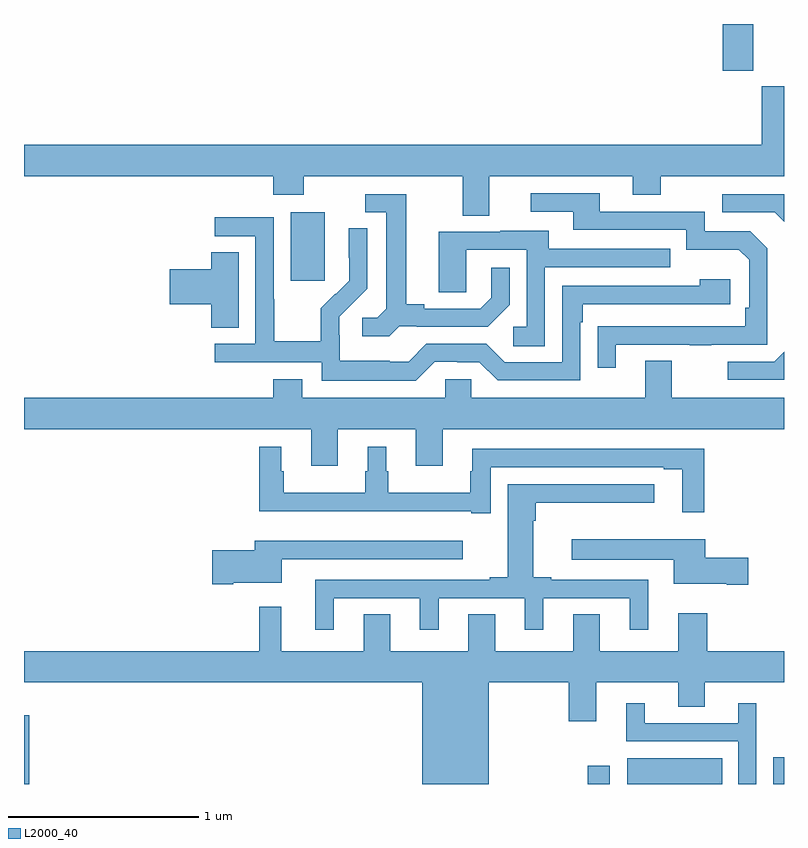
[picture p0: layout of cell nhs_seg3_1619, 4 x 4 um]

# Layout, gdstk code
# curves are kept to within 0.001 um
import gdstk
lib = gdstk.Library(unit=1e-6, precision=1e-09)
def R(c, l, rs):  # rectangles x0, y0, x1, y1
    for r in rs: c.add(gdstk.rectangle(r[:2], r[2:], *l))
def P(c, l, *ps):  # polygons
    for p in ps: c.add(gdstk.Polygon(p, *l))
L2000_40 = (2000, 40)

nhs_seg3_1619 = lib.new_cell('nhs_seg3_1619')
R(nhs_seg3_1619, L2000_40, [(195,680.4,195.028,680.761), (197.968,680.4,198.084,680.497), (198.174,680.4,198.674,680.536), (198.944,680.4,199,680.542), (196.403,683.049,196.582,683.41), (198.677,684.153,198.837,684.4)])
P(nhs_seg3_1619, L2000_40, [(195,683.6),(196.313,683.6),(196.313,683.501),(196.473,683.501),(196.473,683.6),(197.309,683.6),(197.309,683.392),(197.449,683.392),(197.449,683.6),(198.203,683.6),(198.203,683.501),(198.351,683.501),(198.351,683.6),(199,683.6),(199,684.073),(198.884,684.073),(198.884,683.764),(195,683.764)],
  [(198.115,682.713),(198.505,682.713),(198.505,682.708),(198.617,682.708),(198.617,682.713),(198.912,682.713),(198.912,683.22),(198.822,683.31),(198.582,683.31),(198.582,683.412),(198.031,683.412),(198.031,683.508),(197.667,683.508),(197.667,683.412),(197.891,683.412),(197.891,683.316),(198.486,683.316),(198.486,683.213),(198.763,683.213),(198.816,683.16),(198.816,682.906),(198.796,682.906),(198.796,682.809),(198.019,682.808),(198.019,682.59),(198.115,682.59)],
  [(199,683.505),(198.675,683.505),(198.675,683.409),(198.951,683.409),(199,683.36)],
  [(196.974,682.809),(197.068,682.809),(197.068,682.806),(197.44,682.806),(197.556,682.922),(197.556,683.116),(197.459,683.116),(197.459,682.959),(197.402,682.902),(197.107,682.902),(197.107,682.925),(197.011,682.925),(197.011,683.505),(196.797,683.505),(196.797,683.409),(196.907,683.409),(196.907,682.901),(196.86,682.854),(196.779,682.854),(196.779,682.757),(196.922,682.757)],
  [(197.163,682.623),(197.279,682.623),(197.279,682.62),(197.397,682.62),(197.493,682.524),(197.928,682.524),(197.928,682.829),(197.941,682.829),(197.941,682.926),(198.718,682.926),(198.718,683.056),(198.557,683.056),(198.557,683.022),(197.832,683.022),(197.832,682.62),(197.529,682.62),(197.433,682.716),(197.118,682.716),(197.025,682.623),(196.925,682.623),(196.925,682.627),(196.662,682.627),(196.662,682.761),(196.66,682.761),(196.66,682.858),(196.806,683.006),(196.806,683.324),(196.71,683.324),(196.71,683.17),(196.712,683.17),(196.712,683.048),(196.641,682.977),(196.638,682.98),(196.561,682.903),(196.561,682.729),(196.317,682.729),(196.317,682.952),(196.314,682.952),(196.314,683.382),(196.005,683.382),(196.005,683.283),(196.218,683.283),(196.218,682.716),(196.005,682.716),(196.005,682.62),(196.566,682.62),(196.566,682.523),(197.063,682.523)],
  [(197.742,683.121),(198.401,683.121),(198.401,683.217),(197.761,683.217),(197.761,683.311),(197.507,683.311),(197.507,683.307),(197.183,683.307),(197.183,682.987),(197.328,682.987),(197.328,683.211),(197.646,683.211),(197.646,682.806),(197.574,682.806),(197.574,682.705),(197.742,682.705)],
  [(196.129,683.198),(195.986,683.198),(195.986,683.108),(195.768,683.108),(195.768,682.925),(195.986,682.925),(195.986,682.801),(196.129,682.801)],
  [(199,682.675),(198.948,682.623),(198.705,682.623),(198.705,682.527),(199,682.527)],
  [(196.651,682.268),(197.063,682.268),(197.063,682.074),(197.203,682.074),(197.203,682.268),(199,682.268),(199,682.432),(198.409,682.432),(198.409,682.627),(198.269,682.627),(198.269,682.432),(197.355,682.432),(197.355,682.53),(197.217,682.53),(197.217,682.432),(196.465,682.432),(196.465,682.531),(196.313,682.531),(196.313,682.432),(195,682.432),(195,682.268),(196.511,682.268),(196.511,682.074),(196.651,682.074)],
  [(197.457,682.068),(198.368,682.068),(198.368,682.056),(198.464,682.056),(198.464,681.831),(198.581,681.831),(198.581,682.164),(197.36,682.164),(197.36,682.046),(197.349,682.046),(197.349,681.934),(196.918,681.934),(196.918,682.046),(196.906,682.046),(196.906,682.174),(196.808,682.174),(196.808,682.046),(196.797,682.046),(196.797,681.934),(196.366,681.934),(196.366,682.046),(196.354,682.046),(196.354,682.174),(196.237,682.174),(196.237,681.836),(197.354,681.836),(197.354,681.825),(197.457,681.825)],
  [(196.63,681.378),(197.084,681.378),(197.084,681.213),(197.182,681.213),(197.182,681.378),(197.636,681.378),(197.636,681.213),(197.734,681.213),(197.734,681.378),(198.188,681.378),(198.188,681.213),(198.286,681.213),(198.286,681.474),(197.776,681.474),(197.776,681.487),(197.68,681.487),(197.68,681.785),(197.693,681.785),(197.693,681.881),(198.316,681.881),(198.316,681.978),(197.546,681.978),(197.546,681.487),(197.45,681.487),(197.45,681.474),(196.532,681.474),(196.532,681.213),(196.63,681.213)],
  [(198.811,681.59),(198.586,681.59),(198.586,681.688),(197.883,681.688),(197.883,681.581),(198.419,681.581),(198.419,681.455),(198.698,681.455),(198.698,681.448),(198.811,681.448)],
  [(196.102,681.458),(196.357,681.458),(196.357,681.582),(197.308,681.582),(197.308,681.679),(196.214,681.679),(196.214,681.629),(195.99,681.629),(195.99,681.451),(196.102,681.451)],
  [(197.446,680.936),(197.866,680.936),(197.866,680.73),(198.013,680.73),(198.013,680.936),(198.443,680.936),(198.443,680.806),(198.583,680.806),(198.583,680.936),(199,680.936),(199,681.1),(198.596,681.1),(198.596,681.298),(198.443,681.298),(198.443,681.1),(198.031,681.1),(198.031,681.293),(197.891,681.293),(197.891,681.1),(197.479,681.1),(197.479,681.293),(197.339,681.293),(197.339,681.1),(196.927,681.1),(196.927,681.293),(196.787,681.293),(196.787,681.1),(196.355,681.1),(196.355,681.334),(196.237,681.334),(196.237,681.1),(195,681.1),(195,680.936),(197.096,680.936),(197.096,680.4),(197.446,680.4)],
  [(198.855,680.824),(198.758,680.824),(198.758,680.721),(198.268,680.721),(198.268,680.824),(198.17,680.824),(198.17,680.625),(198.759,680.625),(198.759,680.4),(198.855,680.4)])

lib.write_gds('nhs_seg3_1619.gds')
